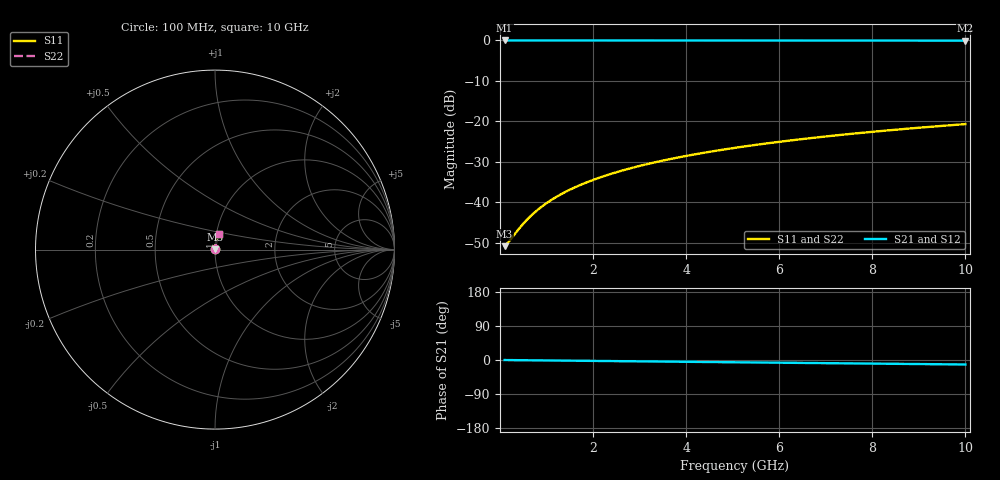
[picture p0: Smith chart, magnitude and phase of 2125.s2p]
# Hz S RI R 50.00
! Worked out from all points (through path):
!   100 points, 100 MHz to 10 GHz, reference 50 ohm
!   highest |S21| = -0.02 dB at 100 MHz (marker M1); lowest = -0.1 dB at 10 GHz (marker M2)
!   group delay of S21, straight-line fit = 3.29 ps
!   lowest |S11| = -50.9 dB at 100 MHz (marker M3), VSWR 1.01, Z = 50.3 + j0.0928 ohm
!   |S11| at or under -10 dB: start of sweep to end of sweep
!   |S22| runs from -50.9 to -20.7 dB; largest |S21 - S12| = 0
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1e8  0.0027 0.000923  0.9973 -0.00206  0.9973 -0.00206  0.0027 0.000923
2e8  0.00272 0.00185  0.9973 -0.00413  0.9973 -0.00413  0.00272 0.00185
4e8  0.00276 0.00369  0.9972 -0.00826  0.9972 -0.00826  0.00276 0.00369
5e8  0.00279 0.00461  0.9972 -0.0103  0.9972 -0.0103  0.00279 0.00461
6e8  0.00282 0.00554  0.9971 -0.0124  0.9971 -0.0124  0.00282 0.00554
7e8  0.00285 0.00646  0.9971 -0.0145  0.9971 -0.0145  0.00285 0.00646
9e8  0.00292 0.0083  0.997 -0.0186  0.997 -0.0186  0.00292 0.0083
1.1e9  0.00301 0.0101  0.9969 -0.0227  0.9969 -0.0227  0.00301 0.0101
1.3e9  0.00311 0.012  0.9968 -0.0268  0.9968 -0.0268  0.00311 0.012
1.5e9  0.00323 0.0138  0.9966 -0.031  0.9966 -0.031  0.00323 0.0138
1.8e9  0.00343 0.0166  0.9963 -0.0371  0.9963 -0.0371  0.00343 0.0166
2.1e9  0.00366 0.0194  0.996 -0.0433  0.996 -0.0433  0.00366 0.0194
2.5e9  0.00403 0.023  0.9955 -0.0516  0.9955 -0.0516  0.00403 0.023
2.9e9  0.00445 0.0267  0.995 -0.0598  0.995 -0.0598  0.00445 0.0267
3.4e9  0.00506 0.0313  0.9941 -0.0701  0.9941 -0.0701  0.00506 0.0313
4.2e9  0.00624 0.0385  0.9926 -0.0865  0.9926 -0.0865  0.00624 0.0385
5.1e9  0.00785 0.0467  0.9904 -0.105  0.9904 -0.105  0.00785 0.0467
5.9e9  0.00953 0.0539  0.9881 -0.1213  0.9881 -0.1213  0.00953 0.0539
6.7e9  0.0115 0.061  0.9855 -0.1376  0.9855 -0.1376  0.0115 0.061
7.5e9  0.0136 0.068  0.9826 -0.1538  0.9826 -0.1538  0.0136 0.068
8.4e9  0.0163 0.0758  0.979 -0.1719  0.979 -0.1719  0.0163 0.0758
1e10  0.0218 0.0895  0.9715 -0.2039  0.9715 -0.2039  0.0218 0.0895
